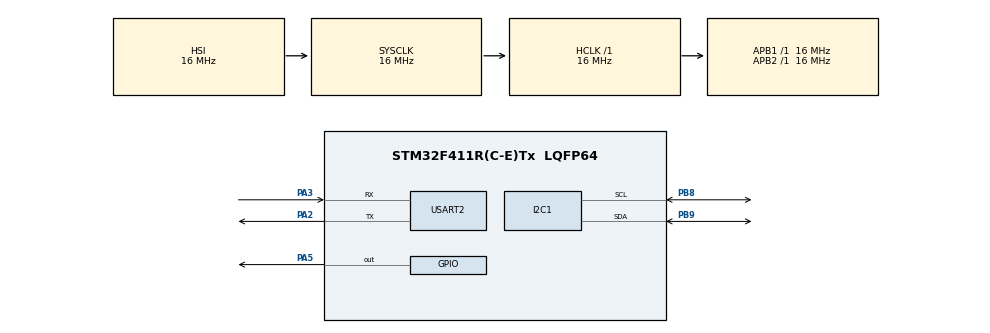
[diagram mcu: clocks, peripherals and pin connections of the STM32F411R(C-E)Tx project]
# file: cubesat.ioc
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FREERTOS.Tasks01=defaultTask,24,128,StartDefaultTask,Default,NULL,Dynamic,NULL,NULL
Mcu.Family=STM32F4
Mcu.Name=STM32F411R(C-E)Tx
Mcu.Package=LQFP64
NVIC.PriorityGroup=NVIC_PRIORITYGROUP_4
NVIC.TIM2_IRQn=true\:5\:0\:false\:false\:true\:true\:true\:true\:true
NVIC.USART2_IRQn=true\:5\:0\:false\:false\:true\:true\:true\:true\:true
PA2.Mode=Asynchronous
PA2.Signal=USART2_TX
PA3.Mode=Asynchronous
PA3.Signal=USART2_RX
PA5.Signal=GPIO_Output
PB8.Mode=I2C
PB8.Signal=I2C1_SCL
PB9.Mode=I2C
PB9.Signal=I2C1_SDA
ProjectManager.HeapSize=0x200
ProjectManager.StackSize=0x400
ProjectManager.TargetToolchain=STM32CubeIDE
RCC.AHBFreq_Value=16000000
RCC.APB1Freq_Value=16000000
RCC.APB2Freq_Value=16000000
RCC.CortexFreq_Value=16000000
RCC.HSE_VALUE=25000000
RCC.HSI_VALUE=16000000
RCC.LSE_VALUE=32768
RCC.SYSCLKFreq_VALUE=16000000
RCC.VCOOutputFreq_Value=192000000
TIM2.Period=999
TIM2.Prescaler=1599
USART2.VirtualMode=VM_ASYNC
VP_FREERTOS_VS_CMSIS_V2.Mode=CMSIS_V2
VP_TIM2_VS_ClockSourceINT.Mode=Internal
board=custom

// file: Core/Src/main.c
/* USER CODE BEGIN Header */
/**
  ******************************************************************************
  * @file           : main.c
  * @brief          : Main program body
  ******************************************************************************
  * @attention
  *
  * Copyright (c) 2026 STMicroelectronics.
  * All rights reserved.
  *
  * This software is licensed under terms that can be found in the LICENSE file
  * in the root directory of this software component.
  * If no LICENSE file comes with this software, it is provided AS-IS.
  *
  ******************************************************************************
  */
/* USER CODE END Header */
#include "main.h"
#include "cmsis_os.h"

/* USER CODE BEGIN Includes */
#include "uart_service.h"
#include "telemetry.h"
#include "i2c.h"
#include "fault.h"
/* USER CODE END Includes */

I2C_HandleTypeDef hi2c1;

TIM_HandleTypeDef htim2;

UART_HandleTypeDef huart2;

/* Definitions for defaultTask */
osThreadId_t telemetryTaskHandle;
osThreadId_t telemetryHealthTaskHandle;
osThreadId_t uartTaskHandle;

const osThreadAttr_t TelemetryTask_attributes = {
  .name = "telemetryTask",
  .stack_size = 1024,
  .priority = (osPriority_t) osPriorityNormal,
};

const osThreadAttr_t TelemetryHealthTask_attributes = {
  .name = "telemetryHealthTask",
  .stack_size = 512,
  .priority = (osPriority_t) osPriorityNormal,
};

const osThreadAttr_t UartTask_attributes = {
  .name = "UartTask",
  .stack_size = 512,
  .priority = (osPriority_t) osPriorityNormal,
};

/* USER CODE BEGIN PV */

volatile uint8_t telemetry_due = 0;
uint32_t execution_time_us = 0;
volatile uint32_t telemetry_heartbeat = 0;
volatile FaultCode_t active_fault = FAULT_NONE;

/* USER CODE END PV */

void SystemClock_Config(void);
static void MX_GPIO_Init(void);
static void MX_USART2_UART_Init(void);
static void MX_I2C1_Init(void);
static void MX_TIM2_Init(void);
void TelemetryTask(void *argument);
void TelemetryHealthTask(void *argument);

/* USER CODE BEGIN 0 */

void init_DWT(void)
{
	/* Used for trace time measurement*/
	CoreDebug->DEMCR |= CoreDebug_DEMCR_TRCENA_Msk;
    DWT->CYCCNT = 0;
    DWT->CTRL |= DWT_CTRL_CYCCNTENA_Msk;
}

/* USER CODE END 0 */

int main(void)
{

  /* MCU Configuration--------------------------------------------------------*/

  /* Reset of all peripherals, Initializes the Flash interface and the Systick. */
  HAL_Init();

  /* Configure the system clock */
  SystemClock_Config();

  /* Initialize all configured peripherals */
  MX_GPIO_Init();
  MX_USART2_UART_Init();
  MX_I2C1_Init();
  MX_TIM2_Init();
  /* USER CODE BEGIN 2 */

  HAL_TIM_Base_Start_IT(&htim2);

  /* USER CODE END 2 */

  /* Init scheduler */
  osKernelInitialize();

  /* USER CODE BEGIN RTOS_QUEUES */
  /* add queues, ... */

  uart_service_init();
  /* USER CODE END RTOS_QUEUES */

  /* Create the thread(s) */

  telemetryTaskHandle = osThreadNew(TelemetryTask, NULL, &TelemetryTask_attributes);
  telemetryHealthTaskHandle = osThreadNew(TelemetryHealthTask, NULL, &TelemetryHealthTask_attributes);
  uartTaskHandle = osThreadNew(UartTask, NULL, &UartTask_attributes);

  /* Start scheduler */
  osKernelStart();

  /* We should never get here as control is now taken by the scheduler */

  /* Infinite loop */
  while (1)
  {

  }
}

void SystemClock_Config(void)
{
  RCC_OscInitTypeDef RCC_OscInitStruct = {0};
  RCC_ClkInitTypeDef RCC_ClkInitStruct = {0};

  /** Configure the main internal regulator output voltage
  */
  __HAL_RCC_PWR_CLK_ENABLE();
  __HAL_PWR_VOLTAGESCALING_CONFIG(PWR_REGULATOR_VOLTAGE_SCALE1);

  /** Initializes the RCC Oscillators according to the specified parameters
  * in the RCC_OscInitTypeDef structure.
  */
  RCC_OscInitStruct.OscillatorType = RCC_OSCILLATORTYPE_HSI;
  RCC_OscInitStruct.HSIState = RCC_HSI_ON;
  RCC_OscInitStruct.HSICalibrationValue = RCC_HSICALIBRATION_DEFAULT;
  RCC_OscInitStruct.PLL.PLLState = RCC_PLL_NONE;
  if (HAL_RCC_OscConfig(&RCC_OscInitStruct) != HAL_OK)
  {
    Error_Handler();
  }

  /** Initializes the CPU, AHB and APB buses clocks
  */
  RCC_ClkInitStruct.ClockType = RCC_CLOCKTYPE_HCLK|RCC_CLOCKTYPE_SYSCLK
                              |RCC_CLOCKTYPE_PCLK1|RCC_CLOCKTYPE_PCLK2;
  RCC_ClkInitStruct.SYSCLKSource = RCC_SYSCLKSOURCE_HSI;
  RCC_ClkInitStruct.AHBCLKDivider = RCC_SYSCLK_DIV1;
  RCC_ClkInitStruct.APB1CLKDivider = RCC_HCLK_DIV1;
  RCC_ClkInitStruct.APB2CLKDivider = RCC_HCLK_DIV1;

  if (HAL_RCC_ClockConfig(&RCC_ClkInitStruct, FLASH_LATENCY_0) != HAL_OK)
  {
    Error_Handler();
  }
}

static void MX_I2C1_Init(void)
{

  hi2c1.Instance = I2C1;
  hi2c1.Init.ClockSpeed = 100000;
  hi2c1.Init.DutyCycle = I2C_DUTYCYCLE_2;
  hi2c1.Init.OwnAddress1 = 0;
  hi2c1.Init.AddressingMode = I2C_ADDRESSINGMODE_7BIT;
  hi2c1.Init.DualAddressMode = I2C_DUALADDRESS_DISABLE;
  hi2c1.Init.OwnAddress2 = 0;
  hi2c1.Init.GeneralCallMode = I2C_GENERALCALL_DISABLE;
  hi2c1.Init.NoStretchMode = I2C_NOSTRETCH_DISABLE;
  if (HAL_I2C_Init(&hi2c1) != HAL_OK)
  {
    Error_Handler();
  }

}

static void MX_TIM2_Init(void)
{

  TIM_ClockConfigTypeDef sClockSourceConfig = {0};
  TIM_MasterConfigTypeDef sMasterConfig = {0};

  htim2.Instance = TIM2;
  htim2.Init.Prescaler = 1599;
  htim2.Init.CounterMode = TIM_COUNTERMODE_UP;
  htim2.Init.Period = 999;
  htim2.Init.ClockDivision = TIM_CLOCKDIVISION_DIV1;
  htim2.Init.AutoReloadPreload = TIM_AUTORELOAD_PRELOAD_DISABLE;
  if (HAL_TIM_Base_Init(&htim2) != HAL_OK)
  {
    Error_Handler();
  }
  sClockSourceConfig.ClockSource = TIM_CLOCKSOURCE_INTERNAL;
  if (HAL_TIM_ConfigClockSource(&htim2, &sClockSourceConfig) != HAL_OK)
  {
    Error_Handler();
  }
  sMasterConfig.MasterOutputTrigger = TIM_TRGO_RESET;
  sMasterConfig.MasterSlaveMode = TIM_MASTERSLAVEMODE_DISABLE;
  if (HAL_TIMEx_MasterConfigSynchronization(&htim2, &sMasterConfig) != HAL_OK)
  {
    Error_Handler();
  }

}

static void MX_USART2_UART_Init(void)
{

  huart2.Instance = USART2;
  huart2.Init.BaudRate = 115200;
  huart2.Init.WordLength = UART_WORDLENGTH_8B;
  huart2.Init.StopBits = UART_STOPBITS_1;
  huart2.Init.Parity = UART_PARITY_NONE;
  huart2.Init.Mode = UART_MODE_TX_RX;
  huart2.Init.HwFlowCtl = UART_HWCONTROL_NONE;
  huart2.Init.OverSampling = UART_OVERSAMPLING_16;
  if (HAL_UART_Init(&huart2) != HAL_OK)
  {
    Error_Handler();
  }

}

static void MX_GPIO_Init(void)
{
  GPIO_InitTypeDef GPIO_InitStruct = {0};

  /* GPIO Ports Clock Enable */
  __HAL_RCC_GPIOA_CLK_ENABLE();
  __HAL_RCC_GPIOB_CLK_ENABLE();

  /*Configure GPIO pin Output Level */
  HAL_GPIO_WritePin(GPIOA, GPIO_PIN_5, GPIO_PIN_RESET);

  /*Configure GPIO pin : PA5 */
  GPIO_InitStruct.Pin = GPIO_PIN_5;
  GPIO_InitStruct.Mode = GPIO_MODE_OUTPUT_PP;
  GPIO_InitStruct.Pull = GPIO_NOPULL;
  GPIO_InitStruct.Speed = GPIO_SPEED_FREQ_LOW;
  HAL_GPIO_Init(GPIOA, &GPIO_InitStruct);

}

/* USER CODE BEGIN 4 */

void HAL_TIM_PeriodElapsedCallback(TIM_HandleTypeDef *htim)
{
    if (htim->Instance == TIM2)
    {
        telemetry_due = 1;
    }
}

/* USER CODE END 4 */

void TelemetryTask(void *argument)
{
  /* USER CODE BEGIN 5 */

    uint32_t telemetry_ticker = osKernelGetTickCount();

  /* Infinite loop */
  for(;;)
  {

	telemetry_send();
    telemetry_heartbeat++;
	telemetry_ticker += 100;
	osDelayUntil(telemetry_ticker); // more accurate than osDelay + telemetry execution time
  }
  /* USER CODE END 5 */
}

void TelemetryHealthTask(void *argument)
{

    uint32_t telem_health_ticker = osKernelGetTickCount();
    uint32_t previous_heartbeat = telemetry_heartbeat;

    for (;;) {
        uint32_t current_heartbeat = telemetry_heartbeat;

        if (current_heartbeat != 0 &&
        		current_heartbeat == previous_heartbeat) {
            active_fault = FAULT_TELEMETRY_STALLED;
        }

        previous_heartbeat = current_heartbeat;

        telem_health_ticker += 1000;
        osDelayUntil(telem_health_ticker);
    }
}

void Error_Handler(void)
{
  __disable_irq();
  while (1)
  {
  }
}
